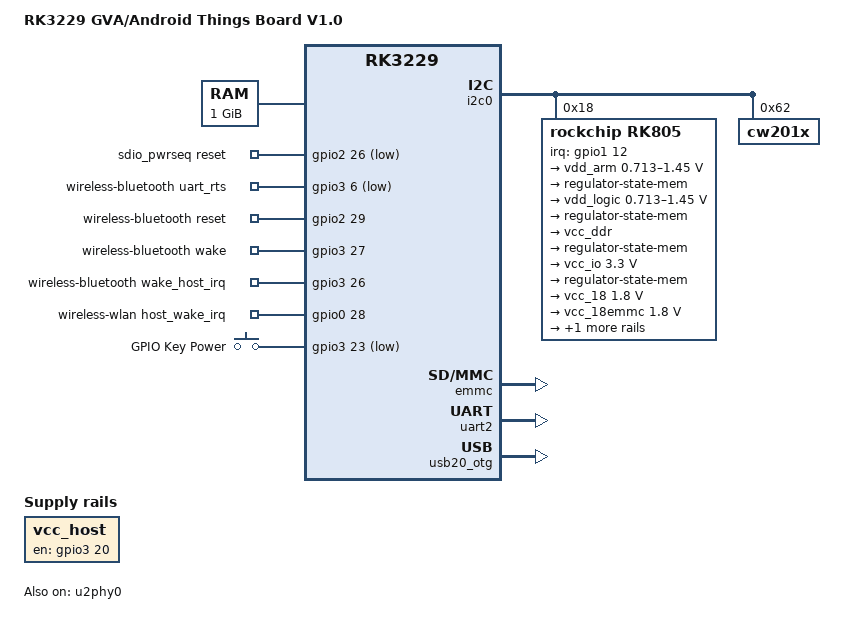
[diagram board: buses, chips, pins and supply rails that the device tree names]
/*
 * Copyright (c) 2017 Fuzhou Rockchip Electronics Co., Ltd
 *
 * SPDX-License-Identifier:     GPL-2.0+ X11
 */

/dts-v1/;

#include "rk322x.dtsi"
#include "rk322x-u-boot.dtsi"
#include <dt-bindings/input/input.h>

/ {
	model = "RK3229 GVA/Android Things Board V1.0";
	compatible = "rockchip,rk3229-gva", "rockchip,rk3229";

	chosen {
		stdout-path = &uart2;
	};

	memory@60000000 {
		device_type = "memory";
		reg = <0x60000000 0x40000000>;
	};

	sdio_pwrseq: sdio-pwrseq {
		compatible = "mmc-pwrseq-simple";
		clocks = <&rk805 1>;
		clock-names = "ext_clock";
		pinctrl-names = "default";
		pinctrl-0 = <&wifi_enable_h>;

		/*
		 * On the module itself this is one of these (depending
		 * on the actual card populated):
		 * - SDIO_RESET_L_WL_REG_ON
		 * - PDN (power down when low)
		 */
		reset-gpios = <&gpio2 26 GPIO_ACTIVE_LOW>; /* GPIO2_D2 */
	};

	vcc_host: vcc-host-regulator {
		compatible = "regulator-fixed";
		enable-active-high;
		gpio = <&gpio3 20 GPIO_ACTIVE_HIGH>;
		pinctrl-names = "default";
		pinctrl-0 = <&host_vbus_drv>;
		regulator-name = "vcc_host";
		regulator-always-on;
		regulator-boot-on;
	};

	wireless-bluetooth {
		compatible = "bluetooth-platdata";
		clocks = <&rk805 1>;
		clock-names = "ext_clock";
		uart_rts_gpios = <&gpio3 6 GPIO_ACTIVE_LOW>;
		pinctrl-names = "default", "rts_gpio";
		BT,reset_gpio    = <&gpio2 29 GPIO_ACTIVE_HIGH>;
		BT,wake_gpio     = <&gpio3 27 GPIO_ACTIVE_HIGH>;
		BT,wake_host_irq = <&gpio3 26 GPIO_ACTIVE_HIGH>;
		status = "okay";
	};

	wireless-wlan {
		compatible = "wlan-platdata";
		rockchip,grf = <&grf>;
		wifi_chip_type = "ap6255";
		WIFI,host_wake_irq = <&gpio0 28 GPIO_ACTIVE_HIGH>;
		status = "okay";
	};

	gpio_keys {
		compatible = "gpio-keys";
		#address-cells = <1>;
		#size-cells = <0>;
		autorepeat;

		pinctrl-names = "default";
		pinctrl-0 = <&pwr_key>;

		power_key: power-key {
			label = "GPIO Key Power";
			gpios = <&gpio3 23 GPIO_ACTIVE_LOW>;
			linux,code = <116>;
			debounce-interval = <100>;
			wakeup-source;
		};
	};
};


&i2c0 {
	status = "okay";

	rk805: rk805@18 {
		compatible = "rockchip,rk805";
		status = "okay";
		reg = <0x18>;
		interrupt-parent = <&gpio1>;
		interrupts = <12 IRQ_TYPE_LEVEL_LOW>;
		pinctrl-names = "default";
		pinctrl-0 = <&pmic_int_l>;
		rockchip,system-power-controller;
		wakeup-source;
		gpio-controller;
		#gpio-cells = <2>;
		#clock-cells = <1>;
		clock-output-names = "xin32k", "rk805-clkout2";

		rtc {
			status = "okay";
		};

		pwrkey {
			status = "okay";
		};

		gpio {
			status = "okay";
		};

		regulators {
			compatible = "rk805-regulator";
			status = "okay";
			#address-cells = <1>;
			#size-cells = <0>;

			vdd_arm: RK805_DCDC1@0 {
				regulator-compatible = "RK805_DCDC1";
				regulator-name = "vdd_arm";
				regulator-min-microvolt = <712500>;
				regulator-max-microvolt = <1450000>;
				regulator-initial-mode = <0x1>;
				regulator-ramp-delay = <12500>;
				regulator-boot-on;
				regulator-always-on;
				regulator-state-mem {
					regulator-mode = <0x2>;
					regulator-on-in-suspend;
					regulator-suspend-microvolt = <950000>;
				};
			};

			vdd_logic: RK805_DCDC2@1 {
				regulator-compatible = "RK805_DCDC2";
				regulator-name = "vdd_logic";
				regulator-min-microvolt = <712500>;
				regulator-max-microvolt = <1450000>;
				regulator-initial-mode = <0x1>;
				regulator-ramp-delay = <12500>;
				regulator-boot-on;
				regulator-always-on;
				regulator-state-mem {
					regulator-mode = <0x2>;
					regulator-on-in-suspend;
					regulator-suspend-microvolt = <1000000>;
				};
			};

			vcc_ddr: RK805_DCDC3@2 {
				regulator-compatible = "RK805_DCDC3";
				regulator-name = "vcc_ddr";
				regulator-initial-mode = <0x1>;
				regulator-boot-on;
				regulator-always-on;
				regulator-state-mem {
					regulator-mode = <0x2>;
					regulator-on-in-suspend;
				};
			};

			vcc_io: RK805_DCDC4@3 {
				regulator-compatible = "RK805_DCDC4";
				regulator-name = "vcc_io";
				regulator-min-microvolt = <3300000>;
				regulator-max-microvolt = <3300000>;
				regulator-initial-mode = <0x1>;
				regulator-boot-on;
				regulator-always-on;
				regulator-state-mem {
					regulator-mode = <0x2>;
					regulator-on-in-suspend;
					regulator-suspend-microvolt = <3300000>;
				};
			};

			vcc_18: RK805_LDO1@4 {
				regulator-compatible = "RK805_LDO1";
				regulator-name = "vcc_18";
				regulator-min-microvolt = <1800000>;
				regulator-max-microvolt = <1800000>;
				regulator-boot-on;
				regulator-always-on;
				regulator-state-mem {
					regulator-on-in-suspend;
					regulator-suspend-microvolt = <1800000>;
				};
			};

			vcc_18emmc: RK805_LDO2@5 {
				regulator-compatible = "RK805_LDO2";
				regulator-name = "vcc_18emmc";
				regulator-min-microvolt = <1800000>;
				regulator-max-microvolt = <1800000>;
				regulator-boot-on;
				regulator-always-on;
				regulator-state-mem {
					regulator-on-in-suspend;
					regulator-suspend-microvolt = <1800000>;
				};
			};

			vdd_10: RK805_LDO3@6 {
				regulator-compatible = "RK805_LDO3";
				regulator-name = "vdd_10";
				regulator-min-microvolt = <1000000>;
				regulator-max-microvolt = <1000000>;
				regulator-boot-on;
				regulator-always-on;
				regulator-state-mem {
					regulator-on-in-suspend;
					regulator-suspend-microvolt = <1000000>;
				};
			};
		};
	};

	cw201x: cw2015@62 {
		compatible = "cw201x";
		status = "okay";
		reg = <0x62>;
		bat_config_info = <0x15 0x42 0x60 0x59 0x52 0x58 0x4D 0x48
				   0x48 0x44 0x44 0x46 0x49 0x48 0x32 0x24
				   0x20 0x17 0x13 0x0F 0x19 0x3E 0x51 0x45
				   0x08 0x76 0x0B 0x85 0x0E 0x1C 0x2E 0x3E
				   0x4D 0x52 0x52 0x57 0x3D 0x1B 0x6A 0x2D
				   0x25 0x43 0x52 0x87 0x8F 0x91 0x94 0x52
				   0x82 0x8C 0x92 0x96 0xFF 0x7B 0xBB 0xCB
				   0x2F 0x7D 0x72 0xA5 0xB5 0xC1 0x46 0xAE>;
		support_dc_adp = <1>;
		dc_det_gpio = <88>;
		dc_det_flag = <1>;
		hw_id_check = <1>;
		hw_id0_gpio = <86>;
		hw_id1_gpio = <87>;
	};
};

&cpu0 {
	cpu-supply = <&vdd_arm>;
};

&pinctrl {
	pmic {
		pmic_int_l: pmic-int-l {
			rockchip,pins = <1 12 RK_FUNC_GPIO &pcfg_pull_up>; /* gpio1_b4 */
		};
	};

	sdio-pwrseq {
		wifi_enable_h: wifi-enable-h {
			rockchip,pins = <2 26 RK_FUNC_GPIO &pcfg_pull_none>;
		};
	};

	usb {
		host_vbus_drv: host-vbus-drv {
			rockchip,pins = <3 20 RK_FUNC_GPIO &pcfg_pull_none>;
		};
	};

	keys {
		pwr_key: pwr-key {
			rockchip,pins = <3 23 RK_FUNC_GPIO &pcfg_pull_up>;
		};
	};
};

&dmc {
	rockchip,pctl-timing = <0x96 0xC8 0x1F3 0xF 0x8000004D 0x4 0x4E 0x6 0x3
		0x0 0x6 0x5 0xC 0x10 0x6 0x4 0x4
		0x5 0x4 0x200 0x3 0xA 0x40 0x0 0x1
		0x5 0x5 0x3 0xC 0x1E 0x100 0x0 0x4
		0x0 0x924>;
	rockchip,phy-timing = <0x220 0x1 0x0 0x0 0x0 0x4 0x60>;
	rockchip,sdram-params = <0x428B188 0x0 0x21 0x472 0x15
		0 300 3 0 120>;
};

&emmc {
	status = "okay";
};

&uart2 {
	status = "okay";
};

&u2phy0 {
	status = "okay";

	u2phy0_otg: otg-port {
		status = "okay";
	};

	u2phy0_host: host-port {
		status = "okay";
	};
};

&usb20_otg {
       status = "okay";
};
